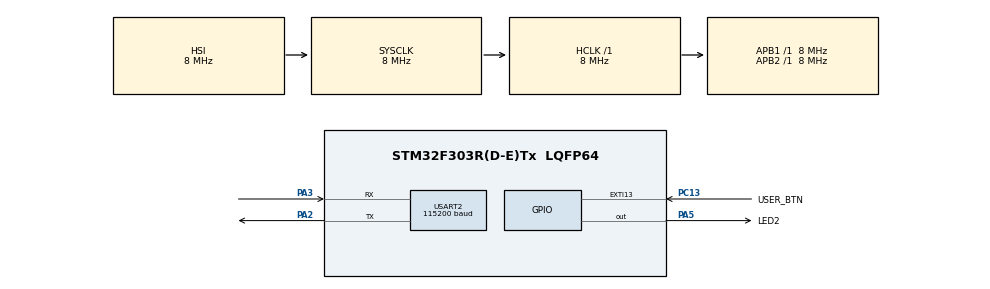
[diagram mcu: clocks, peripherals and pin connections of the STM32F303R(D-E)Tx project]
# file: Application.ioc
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Mcu.Family=STM32F3
Mcu.Name=STM32F303R(D-E)Tx
Mcu.Package=LQFP64
NVIC.EXTI15_10_IRQn=true\:0\:0\:false\:false\:true\:true\:true
NVIC.PriorityGroup=NVIC_PRIORITYGROUP_0
PA2.Mode=Asynchronous
PA2.Signal=USART2_TX
PA3.Mode=Asynchronous
PA3.Signal=USART2_RX
PA5.GPIO_Label=LED2
PA5.Signal=GPIO_Output
PC13.GPIO_Label=USER_BTN
PC13.GPIO_ModeDefaultEXTI=GPIO_MODE_IT_FALLING
PC13.Signal=GPXTI13
ProjectManager.HeapSize=0x200
ProjectManager.StackSize=0x400
ProjectManager.TargetToolchain=STM32CubeIDE
RCC.AHBFreq_Value=8000000
RCC.APB1Freq_Value=8000000
RCC.APB2Freq_Value=8000000
RCC.CortexFreq_Value=8000000
RCC.HSE_VALUE=8000000
RCC.HSI_VALUE=8000000
RCC.LSE_VALUE=32768
RCC.SYSCLKFreq_VALUE=8000000
RCC.USBFreq_Value=16000000
USART2.BaudRate=115200
USART2.VirtualMode-Asynchronous=VM_ASYNC
VP_CRC_VS_CRC.Mode=CRC_Activate
board=custom

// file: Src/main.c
/* USER CODE BEGIN Header */
/**
  ******************************************************************************
  * @file           : main.c
  * @brief          : Main program body
  ******************************************************************************
  * @attention
  *
  * <h2><center>&copy; Copyright (c) 2020 STMicroelectronics.
  * All rights reserved.</center></h2>
  *
  * This software component is licensed by ST under BSD 3-Clause license,
  * the "License"; You may not use this file except in compliance with the
  * License. You may obtain a copy of the License at:
  *                        opensource.org/licenses/BSD-3-Clause
  *
  ******************************************************************************
  */
/* USER CODE END Header */

#include "main.h"

/* USER CODE BEGIN Includes */
#include <stdarg.h>
#include <string.h>
#include <stdint.h>
/* USER CODE END Includes */

/* USER CODE BEGIN PTD */
typedef enum
{
  NOT_BLINKING = 0U,
  BLINKING,
  TRANSITION_BLINK_TO_NOT_BLINKING,
  TRANSITION_TO_NOT_BLINKING
}Button_state_machine_t;

typedef enum
{
  BUTTON_PRESSED = 0U,
  BUTTON_RELEASED
}Button_status_t;

typedef struct
{
  uint16_t active_cnt;
  uint16_t deactive_cnt;
  const uint16_t hysteresis_cnt;
  Button_status_t current_btn_state_t;
}debounce_button_status_t;

/* USER CODE END PTD */

/* USER CODE BEGIN PD */
#define BL_DEBUG_MSG_EN

/* USER CODE END PD */

/* USER CODE BEGIN PM */
static void printmsg(char *format,...);

void init_debounce_struct_t(debounce_button_status_t *);

void init_debounce_struct_t(debounce_button_status_t *struct_t)
{
	struct_t->active_cnt = 0;
	struct_t->current_btn_state_t = BUTTON_RELEASED;
	struct_t->deactive_cnt = 0;
}

void debounc_btn(debounce_button_status_t *,const GPIO_PinState);

void debounc_btn(debounce_button_status_t *btn_status_t,const GPIO_PinState GPIO_return_t)
{
	uint32_t overflow_cntr = 0;
	if(GPIO_return_t == GPIO_PIN_RESET)
	{
		overflow_cntr = btn_status_t->active_cnt +1;
		if(overflow_cntr>65535)
		{
			btn_status_t->active_cnt = 65535;
		}
		else
		{
			btn_status_t->active_cnt = (uint16_t)overflow_cntr;
		}
		if(btn_status_t->active_cnt >= btn_status_t->hysteresis_cnt)
		{
			btn_status_t->current_btn_state_t = BUTTON_PRESSED;
		}
		else
		{
			btn_status_t->current_btn_state_t = BUTTON_RELEASED;
		}

	}
	else
	{
		btn_status_t->active_cnt = 0;
		btn_status_t->current_btn_state_t = BUTTON_RELEASED;
		overflow_cntr = btn_status_t->active_cnt +1;
		if(overflow_cntr>65535)
		{
			btn_status_t->deactive_cnt = 65535;
		}
		else
		{
			btn_status_t->deactive_cnt = (uint16_t)overflow_cntr;
		}
	}

}

/* USER CODE END PM */

CRC_HandleTypeDef hcrc;

UART_HandleTypeDef huart2;

/* USER CODE BEGIN PV */
#define D_UART &huart2
#define BL_RX_LEN 200
/* USER CODE END PV */

void SystemClock_Config(void);
static void MX_GPIO_Init(void);
static void MX_USART2_UART_Init(void);
static void MX_CRC_Init(void);

/* USER CODE BEGIN 0 */
static GPIO_PinState gpio_status_t = GPIO_PIN_RESET;
static debounce_button_status_t user_btn_status_t = {.hysteresis_cnt = 50};
static Button_state_machine_t button_state_t = NOT_BLINKING;
static HAL_StatusTypeDef uart_status_t;
char somedata[] = "Hello from Bootloader\r\n";
/* USER CODE END 0 */

int main(void)
{

  /* MCU Configuration--------------------------------------------------------*/

  /* Reset of all peripherals, Initializes the Flash interface and the Systick. */
  HAL_Init();

  /* Configure the system clock */
  SystemClock_Config();

  /* Initialize all configured peripherals */
  MX_GPIO_Init();
  MX_USART2_UART_Init();
  MX_CRC_Init();
  /* USER CODE BEGIN 2 */
  init_debounce_struct_t(&user_btn_status_t);
  gpio_status_t = HAL_GPIO_ReadPin(USER_BTN_GPIO_Port,USER_BTN_Pin);
  /* USER CODE END 2 */

  /* Infinite loop */
  while (1)
  {

    /* USER CODE BEGIN 3 */
	  /*
	  gpio_status_t = HAL_GPIO_ReadPin(USER_BTN_GPIO_Port,USER_BTN_Pin);
	  debounc_btn(&user_btn_status_t,gpio_status_t);
	  switch(button_state_t)
	  {
	  	  case NOT_BLINKING:
	  		if(user_btn_status_t.current_btn_state_t == BUTTON_PRESSED)
	  		{
	  			button_state_t = BLINKING;
	  		}
	  		else
	  		{
	  			//do nothing
	  			HAL_GPIO_WritePin(LED2_GPIO_Port, LED2_Pin, GPIO_PIN_RESET);
	  		}
	  		  break;

	  	  case BLINKING:
	  		if(user_btn_status_t.current_btn_state_t == BUTTON_RELEASED)
	  		{
	  			button_state_t = TRANSITION_BLINK_TO_NOT_BLINKING;
	  		}
	  		else
	  		{
	  			HAL_GPIO_TogglePin(LED2_GPIO_Port, LED2_Pin);
	  			HAL_Delay(1);
	  		}
	  		break;
	  	  case TRANSITION_BLINK_TO_NOT_BLINKING:
	  		if(user_btn_status_t.current_btn_state_t == BUTTON_PRESSED)
	  		{
	  			button_state_t = TRANSITION_TO_NOT_BLINKING;
	  		}
	  		else
	  		{
	  			HAL_GPIO_TogglePin(LED2_GPIO_Port, LED2_Pin);
	  			HAL_Delay(1);
	  		}
	  		  break;
	  	  case TRANSITION_TO_NOT_BLINKING:
	  		if(user_btn_status_t.current_btn_state_t == BUTTON_RELEASED)
	  		{
	  			button_state_t = NOT_BLINKING;
	  		}
	  		else
	  		{
	  			HAL_GPIO_TogglePin(LED2_GPIO_Port, LED2_Pin);
	  			HAL_Delay(1);
	  		}
	  		  break;
	  		default:
	  		  break;

	  }
	  HAL_Delay(50);
	  //
	   *
	   */
	  //uart_status_t = HAL_UART_Transmit(&huart2,(uint8_t*)somedata,sizeof(somedata),HAL_MAX_DELAY);
	  printmsg(somedata);
	  uint32_t current_tick = HAL_GetTick();
	  printmsg("current_tick = %d\r\n",current_tick);
	  while(HAL_GetTick() <= (current_tick+500));

  }

  /* USER CODE END 3 */
}

void SystemClock_Config(void)
{
  RCC_OscInitTypeDef RCC_OscInitStruct = {0};
  RCC_ClkInitTypeDef RCC_ClkInitStruct = {0};
  RCC_PeriphCLKInitTypeDef PeriphClkInit = {0};

  /** Initializes the CPU, AHB and APB busses clocks
  */
  RCC_OscInitStruct.OscillatorType = RCC_OSCILLATORTYPE_HSI;
  RCC_OscInitStruct.HSIState = RCC_HSI_ON;
  RCC_OscInitStruct.HSICalibrationValue = RCC_HSICALIBRATION_DEFAULT;
  RCC_OscInitStruct.PLL.PLLState = RCC_PLL_NONE;
  if (HAL_RCC_OscConfig(&RCC_OscInitStruct) != HAL_OK)
  {
    Error_Handler();
  }
  /** Initializes the CPU, AHB and APB busses clocks
  */
  RCC_ClkInitStruct.ClockType = RCC_CLOCKTYPE_HCLK|RCC_CLOCKTYPE_SYSCLK
                              |RCC_CLOCKTYPE_PCLK1|RCC_CLOCKTYPE_PCLK2;
  RCC_ClkInitStruct.SYSCLKSource = RCC_SYSCLKSOURCE_HSI;
  RCC_ClkInitStruct.AHBCLKDivider = RCC_SYSCLK_DIV1;
  RCC_ClkInitStruct.APB1CLKDivider = RCC_HCLK_DIV1;
  RCC_ClkInitStruct.APB2CLKDivider = RCC_HCLK_DIV1;

  if (HAL_RCC_ClockConfig(&RCC_ClkInitStruct, FLASH_LATENCY_0) != HAL_OK)
  {
    Error_Handler();
  }
  PeriphClkInit.PeriphClockSelection = RCC_PERIPHCLK_USART2;
  PeriphClkInit.Usart2ClockSelection = RCC_USART2CLKSOURCE_PCLK1;
  if (HAL_RCCEx_PeriphCLKConfig(&PeriphClkInit) != HAL_OK)
  {
    Error_Handler();
  }
}

static void MX_CRC_Init(void)
{

  hcrc.Instance = CRC;
  hcrc.Init.DefaultPolynomialUse = DEFAULT_POLYNOMIAL_ENABLE;
  hcrc.Init.DefaultInitValueUse = DEFAULT_INIT_VALUE_ENABLE;
  hcrc.Init.InputDataInversionMode = CRC_INPUTDATA_INVERSION_NONE;
  hcrc.Init.OutputDataInversionMode = CRC_OUTPUTDATA_INVERSION_DISABLE;
  hcrc.InputDataFormat = CRC_INPUTDATA_FORMAT_BYTES;
  if (HAL_CRC_Init(&hcrc) != HAL_OK)
  {
    Error_Handler();
  }

}

static void MX_USART2_UART_Init(void)
{

  huart2.Instance = USART2;
  huart2.Init.BaudRate = 115200;
  huart2.Init.WordLength = UART_WORDLENGTH_8B;
  huart2.Init.StopBits = UART_STOPBITS_1;
  huart2.Init.Parity = UART_PARITY_NONE;
  huart2.Init.Mode = UART_MODE_TX_RX;
  huart2.Init.HwFlowCtl = UART_HWCONTROL_NONE;
  huart2.Init.OverSampling = UART_OVERSAMPLING_16;
  huart2.Init.OneBitSampling = UART_ONE_BIT_SAMPLE_DISABLE;
  huart2.AdvancedInit.AdvFeatureInit = UART_ADVFEATURE_NO_INIT;
  if (HAL_UART_Init(&huart2) != HAL_OK)
  {
    Error_Handler();
  }

}

static void MX_GPIO_Init(void)
{
  GPIO_InitTypeDef GPIO_InitStruct = {0};

  /* GPIO Ports Clock Enable */
  __HAL_RCC_GPIOC_CLK_ENABLE();
  __HAL_RCC_GPIOA_CLK_ENABLE();

  /*Configure GPIO pin Output Level */
  HAL_GPIO_WritePin(LED2_GPIO_Port, LED2_Pin, GPIO_PIN_RESET);

  /*Configure GPIO pin : PC13 */
  GPIO_InitStruct.Pin = GPIO_PIN_13;
  GPIO_InitStruct.Mode = GPIO_MODE_IT_FALLING;
  GPIO_InitStruct.Pull = GPIO_NOPULL;
  HAL_GPIO_Init(GPIOC, &GPIO_InitStruct);

  /*Configure GPIO pin : LED2_Pin */
  GPIO_InitStruct.Pin = LED2_Pin;
  GPIO_InitStruct.Mode = GPIO_MODE_OUTPUT_PP;
  GPIO_InitStruct.Pull = GPIO_NOPULL;
  GPIO_InitStruct.Speed = GPIO_SPEED_FREQ_LOW;
  HAL_GPIO_Init(LED2_GPIO_Port, &GPIO_InitStruct);

  /* EXTI interrupt init*/
  HAL_NVIC_SetPriority(EXTI15_10_IRQn, 0, 0);
  HAL_NVIC_EnableIRQ(EXTI15_10_IRQn);

}

/* USER CODE BEGIN 4 */

/**************Implementation of Boot-loader Command Handle functions *********/

void printmsg(char *format,...)
{
#ifdef BL_DEBUG_MSG_EN
	char str[80];
	va_list args;
	va_start(args,format);
	vsprintf(str,format,args);
	HAL_UART_Transmit(D_UART,(uint8_t*)str,strlen(str),HAL_MAX_DELAY);
	va_end(args);
#endif
}

/*Helper function to handle BL_GET_VER command */
/* USER CODE END 4 */

void Error_Handler(void)
{
}

/************************ (C) COPYRIGHT STMicroelectronics *****END OF FILE****/
